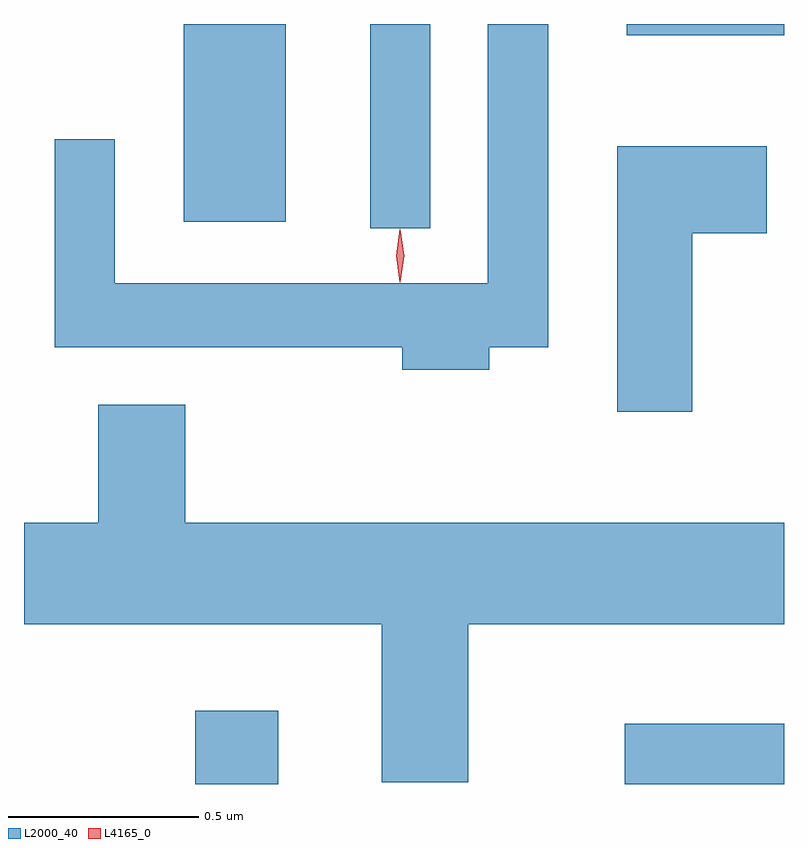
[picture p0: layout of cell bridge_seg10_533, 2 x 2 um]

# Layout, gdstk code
import gdstk
lib = gdstk.Library(unit=1e-6, precision=1e-09)
def R(c, l, rs):  # rectangles x0, y0, x1, y1
    for r in rs: c.add(gdstk.rectangle(r[:2], r[2:], *l))
def P(c, l, *ps):  # polygons
    for p in ps: c.add(gdstk.Polygon(p, *l))
L2000_40 = (2000, 40)
L4165_0 = (4165, 0)

bridge_seg10_533 = lib.new_cell('bridge_seg10_533')
R(bridge_seg10_533, L2000_40, [(867.976,2173.436,868.194,2173.629), (869.106,2173.436,869.525,2173.594), (868.436,2174.898,868.594,2175.436), (867.946,2174.916,868.214,2175.436), (869.111,2175.406,869.525,2175.436)])
P(bridge_seg10_533, L2000_40, [(868.749,2174.586),(868.904,2174.586),(868.904,2175.436),(868.746,2175.436),(868.746,2174.754),(867.764,2174.754),(867.764,2175.133),(867.606,2175.133),(867.606,2174.586),(868.521,2174.586),(868.521,2174.526),(868.749,2174.526)],
  [(869.284,2174.886),(869.479,2174.886),(869.479,2175.114),(869.086,2175.114),(869.086,2174.416),(869.284,2174.416)],
  [(868.694,2173.856),(869.525,2173.856),(869.525,2174.124),(867.949,2174.124),(867.949,2174.434),(867.721,2174.434),(867.721,2174.124),(867.525,2174.124),(867.525,2173.856),(868.466,2173.856),(868.466,2173.441),(868.694,2173.441)])
P(bridge_seg10_533, L4165_0, [(868.514,2174.757),(868.505,2174.826),(868.514,2174.896),(868.515,2174.896),(868.515,2174.896),(868.525,2174.826),(868.515,2174.757),(868.515,2174.757)],
  [(868.514,2174.759),(868.514,2174.76),(868.504,2174.826),(868.514,2174.892),(868.514,2174.893),(868.515,2174.892),(868.524,2174.826),(868.515,2174.76)])

lib.write_gds('bridge_seg10_533.gds')
